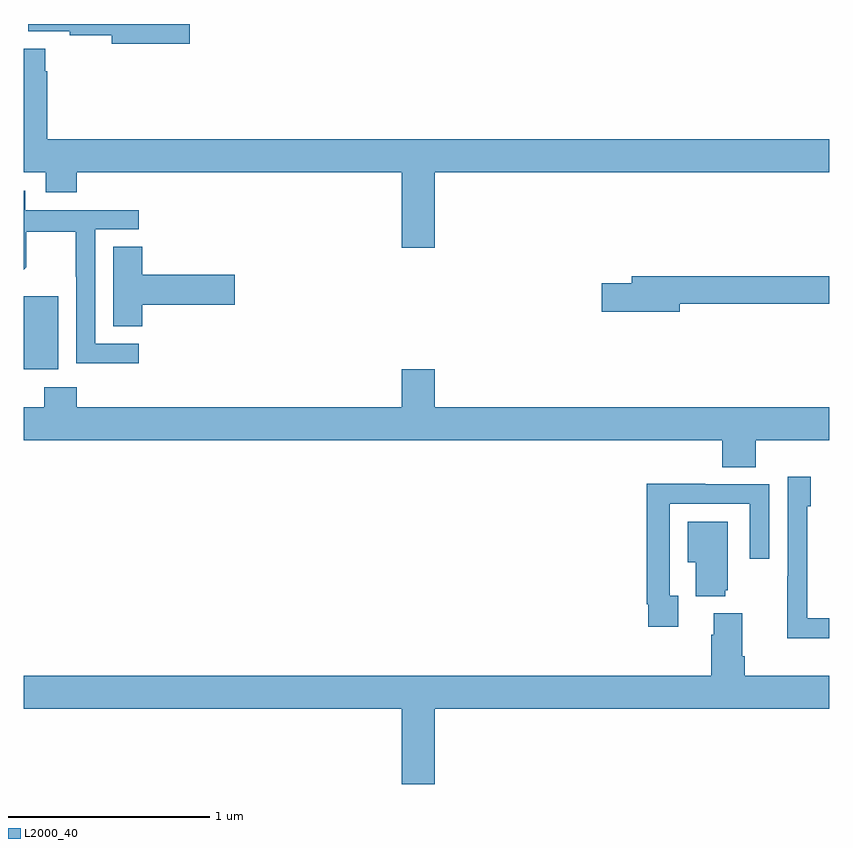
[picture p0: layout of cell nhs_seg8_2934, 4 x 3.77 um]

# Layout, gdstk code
import gdstk
lib = gdstk.Library(unit=1e-6, precision=1e-09)
def R(c, l, rs):  # rectangles x0, y0, x1, y1
    for r in rs: c.add(gdstk.rectangle(r[:2], r[2:], *l))
def P(c, l, *ps):  # polygons
    for p in ps: c.add(gdstk.Polygon(p, *l))
L2000_40 = (2000, 40)

nhs_seg8_2934 = lib.new_cell('nhs_seg8_2934')
R(nhs_seg8_2934, L2000_40, [(295,1118.186,295.171,1118.547)])
P(nhs_seg8_2934, L2000_40, [(295.825,1119.9),(295.022,1119.9),(295.022,1119.864),(295.228,1119.864),(295.228,1119.844),(295.436,1119.844),(295.436,1119.802),(295.825,1119.802)],
  [(295.117,1119.665),(295.106,1119.665),(295.106,1119.778),(295,1119.778),(295,1119.164),(295.109,1119.164),(295.109,1119.065),(295.262,1119.065),(295.262,1119.164),(296.876,1119.164),(296.876,1118.79),(297.04,1118.79),(297.04,1119.164),(299,1119.164),(299,1119.328),(295.117,1119.328)],
  [(295.57,1118.313),(295.356,1118.313),(295.356,1118.88),(295.57,1118.88),(295.57,1118.976),(295.008,1118.976),(295.008,1119.073),(295,1119.073),(295,1118.68),(295.013,1118.693),(295.013,1118.868),(295.258,1118.868),(295.258,1118.644),(295.26,1118.644),(295.26,1118.215),(295.57,1118.215)],
  [(295.589,1118.507),(296.047,1118.507),(296.047,1118.654),(295.589,1118.654),(295.589,1118.795),(295.445,1118.795),(295.445,1118.398),(295.589,1118.398)],
  [(298.258,1118.512),(299,1118.512),(299,1118.648),(298.019,1118.648),(298.019,1118.612),(297.87,1118.612),(297.87,1118.47),(298.258,1118.47)],
  [(298.634,1117.832),(299,1117.832),(299,1117.996),(297.04,1117.996),(297.04,1118.185),(296.876,1118.185),(296.876,1117.996),(295.262,1117.996),(295.262,1118.095),(295.102,1118.095),(295.102,1117.996),(295,1117.996),(295,1117.832),(298.469,1117.832),(298.469,1117.699),(298.634,1117.699)],
  [(299,1116.948),(298.89,1116.948),(298.89,1117.506),(298.909,1117.506),(298.909,1117.651),(298.794,1117.651),(298.794,1117.157),(298.792,1117.157),(298.792,1116.851),(299,1116.851)],
  [(298.249,1117.062),(298.209,1117.062),(298.209,1117.518),(298.605,1117.518),(298.605,1117.245),(298.701,1117.245),(298.701,1117.614),(298.385,1117.614),(298.385,1117.616),(298.093,1117.616),(298.093,1117.018),(298.101,1117.018),(298.101,1116.906),(298.249,1116.906)],
  [(298.484,1117.089),(298.495,1117.089),(298.495,1117.429),(298.298,1117.429),(298.298,1117.226),(298.337,1117.226),(298.337,1117.058),(298.484,1117.058)],
  [(297.04,1116.5),(299,1116.5),(299,1116.664),(298.58,1116.664),(298.58,1116.76),(298.567,1116.76),(298.567,1116.973),(298.427,1116.973),(298.427,1116.866),(298.415,1116.866),(298.415,1116.664),(295,1116.664),(295,1116.5),(296.876,1116.5),(296.876,1116.126),(297.04,1116.126)])

lib.write_gds('nhs_seg8_2934.gds')
